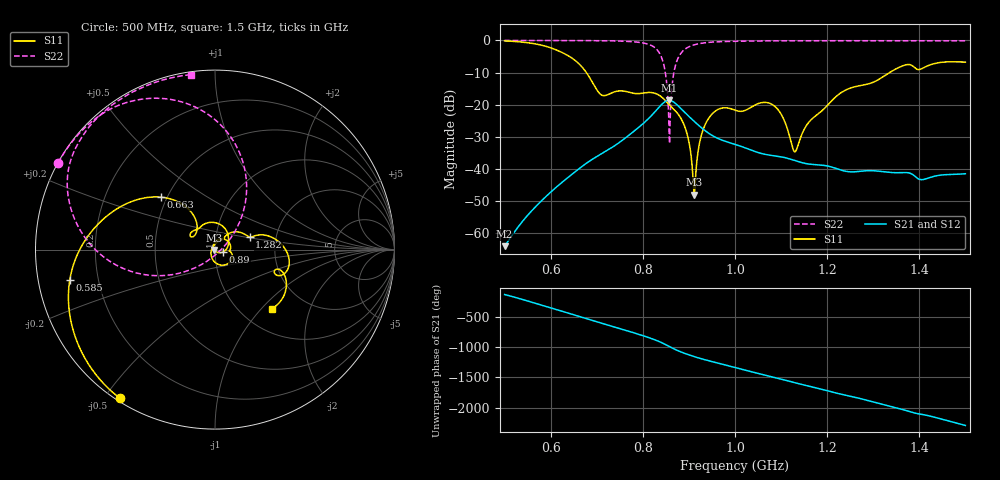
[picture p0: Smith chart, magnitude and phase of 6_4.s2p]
! TOUCHSTONE file generated by CST MICROWAVE STUDIO
! Date and time: Fri Oct  2 16:54:28 2020
! Project name: Scenario_1_Free_Space_out_of_line.cst
! Parameters = {Lambda=346.42; Step_1=17.321; dy1=260.935; dx1=693; L_HA=400; MT=2.54; Rad_Dielectric=30; Rad_Lower=7.3; Rad_Upper=30; a_HA=580; a_WG=246; b_HA=500; b_WG=121; c_HA=0; c_WG=187; d_feed=85; h_feed=15; h_lower=18; h_upper=40}
! Header version: 2018
! Port assignment regex: !\s*Touchstone port\s*([0-9]+)\s*=\s*(CST MWS port|CST DS port)\s*([0-9]+|Zmin|Zmax)\s*\(\"(.*)\"\)(\s*mode\s*([0-9]+))?.*
! Touchstone port assignment:
! Touchstone port 1 = CST MWS port 1 ("")
! Touchstone port 2 = CST MWS port 2 ("")
# GHz S DB R 50
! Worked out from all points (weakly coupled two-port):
!   1003 points, 500 MHz to 1.5 GHz, reference 50 ohm
!   highest |S21| = -18.66 dB at 857 MHz (marker M1); lowest = -64.1 dB at 500 MHz (marker M2)
!   lowest |S11| = -48.0 dB at 912 MHz (marker M3), VSWR 1.01, Z = 49.6 - j0.134 ohm
!   |S11| at or under -10 dB: 677.4 MHz to 1.335 GHz (658 MHz wide, 65.4 % of centre)
!   |S22| runs from -32.1 to 0.0 dB; largest |S21 - S12| = 3.7e-05
!   S11 on the Smith chart (normalised r, x): 500 MHz: 0.01, -0.55; 585 MHz: 0.10, -0.10; 663 MHz: 0.46, +0.33; 890 MHz: 1.09, -0.03; 1.282 GHz: 1.46, +0.21; 1.5 GHz: 1.37, -1.16
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0.5  -0.15 -122.6  -64.10 -132.7  -64.10 -132.7  -0.01 151.1
0.585  -1.65 -168.1  -49.28 41.8  -49.28 41.8  -0.02 145.2
0.663  -7.51 136.1  -39.80 -135.7  -39.80 -135.7  -0.04 138.7
0.667  -8.11 133.0  -39.37 -145.0  -39.37 -144.9  -0.04 138.3
0.712  -17.11 139.4  -35.17 110.7  -35.17 110.6  -0.09 133.3
0.789  -16.58 128.1  -27.33 -64.0  -27.33 -64.0  -0.55 117.3
0.834  -16.96 77.2  -20.99 176.7  -20.99 176.8  -3.47 85.2
0.847  -18.45 55.8  -19.18 131.2  -19.18 131.2  -8.60 61.7
0.857  -20.01 41.3  -18.66 91.7  -18.66 91.7  -28.66 4.3
0.861  -20.59 35.8  -18.76 75.8  -18.76 75.8  -18.73 -132.8
0.87  -21.86 22.4  -19.53 41.9  -19.53 41.9  -8.22 -158.3
0.89  -26.49 -16.3  -22.28 -21.0  -22.28 -21.0  -2.88 175.6
0.912  -48.01 -160.1  -25.29 -77.7  -25.29 -77.7  -1.35 161.7
0.925  -30.66 105.7  -26.94 -107.5  -26.94 -107.5  -0.93 156.4
0.941  -24.67 73.0  -28.73 -140.8  -28.73 -140.8  -0.63 151.4
1  -21.73 -2.8  -32.36 104.3  -32.36 104.3  -0.27 140.2
1.082  -20.06 -60.4  -35.88 -52.4  -35.88 -52.4  -0.13 131.3
1.13  -34.72 155.7  -37.44 -147.2  -37.44 -147.2  -0.11 127.2
1.167  -24.45 57.7  -38.61 145.5  -38.61 145.5  -0.09 124.2
1.282  -13.79 19.9  -40.62 -68.2  -40.62 -68.2  -0.09 115.4
1.334  -10.13 13.8  -41.09 -171.3  -41.09 -171.3  -0.09 111.5
1.5  -6.74 -46.2  -41.53 -132.2  -41.55 -132.4  -0.14 97.9
